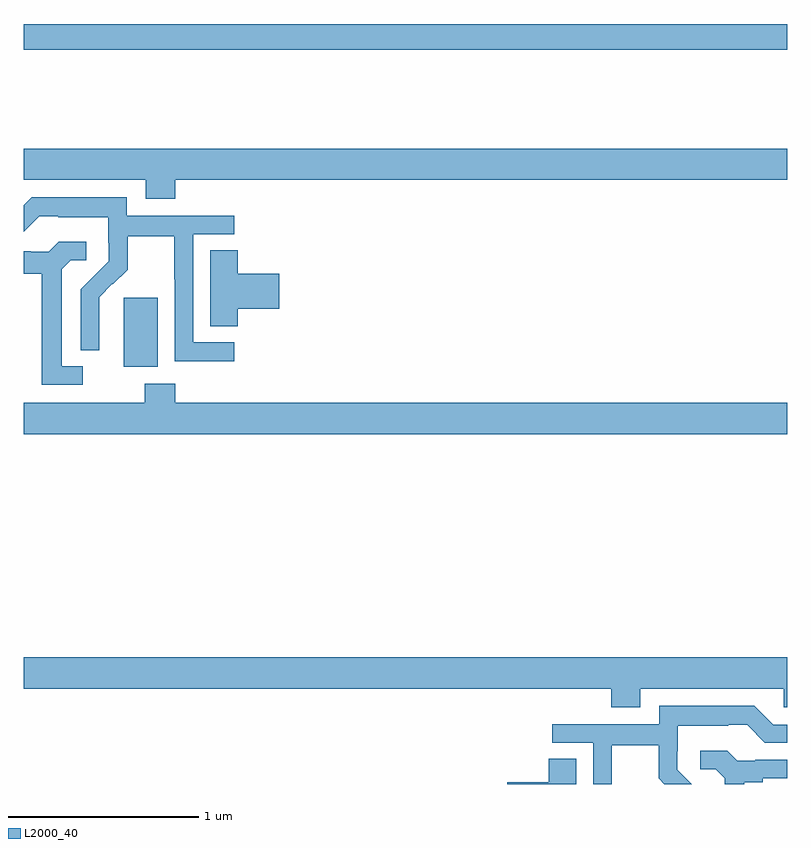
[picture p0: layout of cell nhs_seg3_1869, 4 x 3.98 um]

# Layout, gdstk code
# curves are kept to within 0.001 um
import gdstk
lib = gdstk.Library(unit=1e-6, precision=1e-09)
def R(c, l, rs):  # rectangles x0, y0, x1, y1
    for r in rs: c.add(gdstk.rectangle(r[:2], r[2:], *l))
def P(c, l, *ps):  # polygons
    for p in ps: c.add(gdstk.Polygon(p, *l))
L2000_40 = (2000, 40)

nhs_seg3_1869 = lib.new_cell('nhs_seg3_1869')
R(nhs_seg3_1869, L2000_40, [(207.524,718.586,207.703,718.947), (207,720.244,211,720.38)])
P(nhs_seg3_1869, L2000_40, [(207.794,719.564),(211,719.564),(211,719.728),(207,719.728),(207,719.564),(207.641,719.564),(207.641,719.465),(207.794,719.465)],
  [(208.102,718.713),(207.888,718.713),(207.888,719.28),(208.102,719.28),(208.102,719.376),(207.54,719.376),(207.54,719.473),(207.043,719.473),(207,719.43),(207,719.292),(207.081,719.373),(207.181,719.373),(207.181,719.369),(207.444,719.369),(207.444,719.235),(207.446,719.235),(207.446,719.138),(207.3,718.99),(207.3,718.672),(207.396,718.672),(207.395,718.949),(207.465,719.019),(207.468,719.016),(207.545,719.093),(207.545,719.268),(207.79,719.268),(207.79,719.044),(207.792,719.044),(207.792,718.615),(208.102,718.615)],
  [(207.31,718.587),(207.199,718.587),(207.199,719.095),(207.246,719.142),(207.328,719.142),(207.328,719.239),(207.184,719.239),(207.132,719.187),(207.038,719.187),(207.038,719.19),(207,719.19),(207,719.072),(207.095,719.072),(207.095,718.491),(207.31,718.491)],
  [(208.121,718.889),(208.339,718.889),(208.339,719.072),(208.121,719.072),(208.121,719.195),(207.977,719.195),(207.977,718.798),(208.121,718.798)],
  [(211,718.396),(207.794,718.396),(207.794,718.495),(207.634,718.495),(207.634,718.396),(207,718.396),(207,718.232),(211,718.232)],
  [(210.229,716.9),(210.981,716.9),(210.981,716.802),(211,716.802),(211,717.064),(207,717.064),(207,716.9),(210.077,716.9),(210.077,716.801),(210.229,716.801)],
  [(210.081,716.604),(210.325,716.604),(210.325,716.429),(210.354,716.4),(210.498,716.4),(210.424,716.474),(210.424,716.571),(210.426,716.571),(210.426,716.705),(210.689,716.705),(210.689,716.709),(210.789,716.709),(210.882,716.616),(211,716.616),(211,716.709),(210.927,716.709),(210.827,716.809),(210.33,716.809),(210.33,716.712),(209.769,716.712),(209.769,716.616),(209.982,716.616),(209.982,716.4),(210.081,716.4)],
  [(210.775,716.408),(210.871,716.408),(210.871,716.43),(211,716.43),(211,716.526),(210.832,716.526),(210.832,716.523),(210.738,716.523),(210.686,716.575),(210.543,716.575),(210.543,716.478),(210.624,716.478),(210.671,716.431),(210.671,716.4),(210.775,716.4)],
  [(209.893,716.531),(209.75,716.531),(209.75,716.408),(209.532,716.408),(209.532,716.4),(209.893,716.4)])

lib.write_gds('nhs_seg3_1869.gds')
